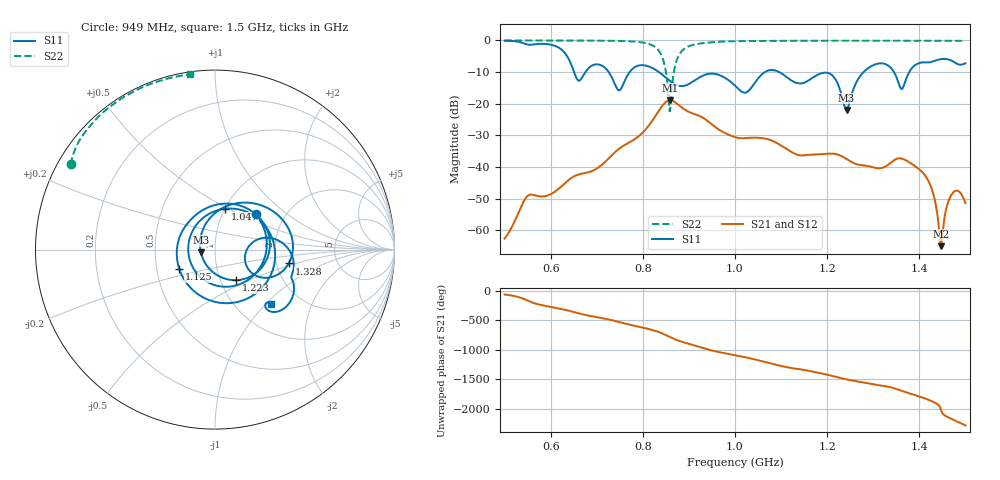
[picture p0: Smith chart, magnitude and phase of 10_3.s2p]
! TOUCHSTONE file generated by CST MICROWAVE STUDIO
! Date and time: Fri Dec 11 13:54:49 2020
! Project name: Scenario_1_Planar_Body_Tissue_Out_of_Line_v2.cst
! Parameters = {dy1=-190.3; L_HA=400; Ltissue=700; MT=2.54; Rad_Dielectric=30; Rad_Lower=7.3; Rad_Upper=30; Wtissue=700; a_HA=580; a_WG=246; b_HA=500; b_WG=121; c_HA=0; c_WG=187; d_feed=85; dx1=520; h_feed=15; h_lower=18; h_upper=40; hfat=3; hgap=25; hmuscle=50; hskin=1.5}
! Header version: 2018
! Port assignment regex: !\s*Touchstone port\s*([0-9]+)\s*=\s*(CST MWS port|CST DS port)\s*([0-9]+|Zmin|Zmax)\s*\(\"(.*)\"\)(\s*mode\s*([0-9]+))?.*
! Touchstone port assignment:
! Touchstone port 1 = CST MWS port 1 ("")
! Touchstone port 2 = CST MWS port 2 ("")
# GHz S DB R 50
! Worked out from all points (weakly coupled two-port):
!   1003 points, 500 MHz to 1.5 GHz, reference 50 ohm
!   highest |S21| = -18.88 dB at 859 MHz (marker M1); lowest = -65.0 dB at 1.447 GHz (marker M2)
!   lowest |S11| = -22.0 dB at 1.242 GHz (marker M3), VSWR 1.17, Z = 42.7 - j1.24 ohm
!   |S11| at or under -10 dB: 725.9 MHz to 771.3 MHz (45.41 MHz wide, 6.07 % of centre); 834.9 MHz to 1.065 GHz (229.9 MHz wide, 24.2 % of centre); 1.096 GHz to 1.279 GHz (183.1 MHz wide, 15.4 % of centre) (the widest 3 of 5)
!   |S22| runs from -22.4 to 0.0 dB; largest |S21 - S12| = 2.2e-06
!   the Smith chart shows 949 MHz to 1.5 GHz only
!   S11 on the Smith chart (normalised r, x): 949 MHz: 1.43, +0.62; 1.047 GHz: 1.00, +0.48; 1.125 GHz: 0.65, -0.15; 1.223 GHz: 1.18, -0.42; 1.328 GHz: 2.34, -0.44; 1.5 GHz: 1.44, -1.07
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0.5  -0.09 -122.0  -62.64 -58.8  -62.64 -58.8  -0.01 151.2
0.599  -1.31 -175.9  -48.66 93.1  -48.66 93.1  -0.02 144.2
0.667  -11.97 167.9  -42.12 -31.7  -42.12 -31.7  -0.04 138.4
0.742  -14.67 16.1  -35.01 -153.2  -35.01 -153.2  -0.14 129.0
0.788  -8.06 163.1  -30.60 118.3  -30.60 118.3  -0.45 117.8
0.834  -9.91 50.5  -22.38 24.7  -22.38 24.7  -3.12 84.8
0.859  -12.81 -16.4  -18.88 -62.2  -18.88 -62.2  -22.36 -62.6
0.883  -14.43 -94.1  -21.07 -138.7  -21.07 -138.7  -3.62 -175.6
0.949  -10.47 41.1  -26.44 71.0  -26.44 71.0  -0.59 149.5
1  -14.28 -95.5  -30.56 -13.0  -30.56 -13.0  -0.25 140.3
1.047  -12.60 76.2  -30.74 -90.5  -30.73 -90.5  -0.17 134.8
1.076  -9.38 -13.2  -31.44 -148.0  -31.44 -148.0  -0.14 131.9
1.125  -12.89 -151.1  -35.46 127.5  -35.46 127.5  -0.11 127.6
1.167  -11.92 85.4  -36.09 72.1  -36.09 72.1  -0.10 124.2
1.223  -13.69 -55.4  -36.08 -27.6  -36.08 -27.6  -0.09 119.9
1.242  -21.95 -169.6  -37.48 -63.4  -37.48 -63.4  -0.09 118.5
1.328  -7.57 -10.6  -39.72 178.4  -39.72 178.4  -0.08 112.0
1.334  -8.11 -18.1  -39.10 169.2  -39.10 169.2  -0.08 111.5
1.412  -6.92 -16.0  -42.57 -26.2  -42.57 -26.2  -0.10 105.5
1.447  -5.91 -31.5  -65.01 138.0  -65.02 138.0  -0.11 102.6
1.471  -6.45 -46.9  -48.48 -19.4  -48.48 -19.4  -0.11 100.5
1.5  -7.22 -43.9  -51.39 -127.3  -51.39 -127.3  -0.13 98.0
